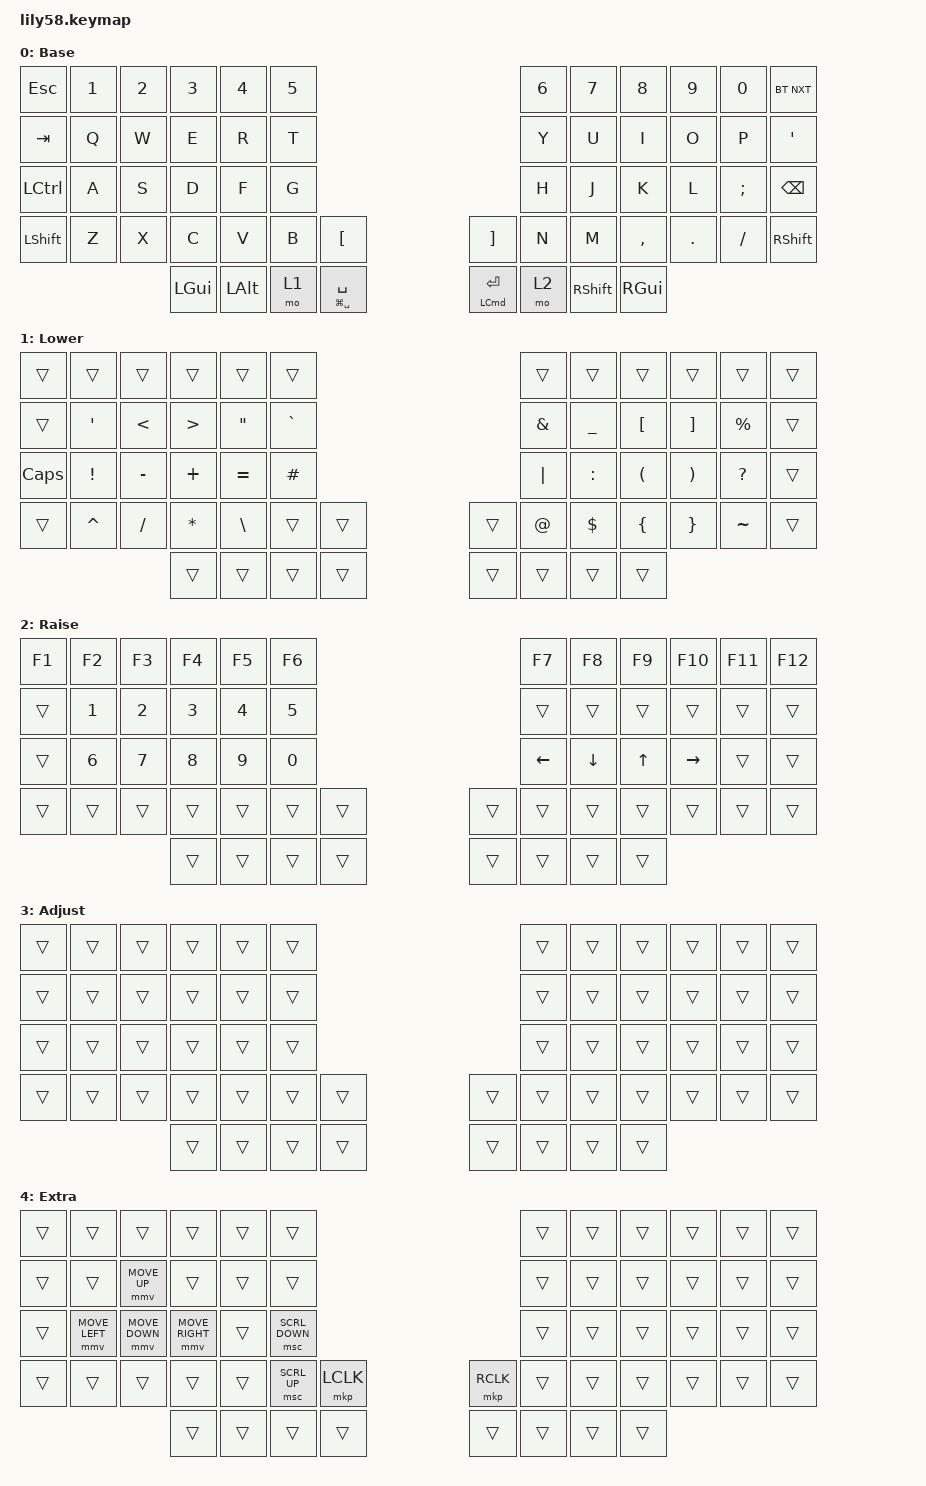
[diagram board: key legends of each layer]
/*
 * Copyright (c) 2020 The ZMK Contributors
 *
 * SPDX-License-Identifier: MIT
 */

#include <behaviors.dtsi>
#include <dt-bindings/zmk/bt.h>
#include <dt-bindings/zmk/keys.h>
#include <dt-bindings/zmk/pointing.h>

#define default_layer 0
#define lower_layer 1
#define raise_layer 2
#define adjust_layer 3
#define extra_layer 4

/ {
    behaviors {
        space_behavior: space_behavior {
            compatible = "zmk,behavior-hold-tap";
            label = "SPACE_BEHAVIOR";
            bindings = <&kp>, <&kp>;

            #binding-cells = <2>;
            tapping-term-ms = <250>;
            flavor = "tap-preferred";
        };

        ret_behavior: ret_behavior {
            compatible = "zmk,behavior-hold-tap";
            label = "RET_BEHAVIOR";
            bindings = <&kp>, <&kp>;

            #binding-cells = <2>;
            tapping-term-ms = <250>;
            flavor = "tap-preferred";
        };
    };

    keymap {
        compatible = "zmk,keymap";

        default_layer {
            display-name = "Base";

            // ------------------------------------------------------------------------------------------------------------
            // |  ESC  |  1  |  2  |  3   |  4   |  5   |                   |  6   |  7    |  8    |  9   |   0   |   `   |
            // |  TAB  |  Q  |  W  |  E   |  R   |  T   |                   |  Y   |  U    |  I    |  O   |   P   |   -   |
            // |  CTRL |  A  |  S  |  D   |  F   |  G   |                   |  H   |  J    |  K    |  L   |   ;   |   '   |
            // | SHIFT |  Z  |  X  |  C   |  V   |  B   |   "["  |  |  "]"  |  N   |  M    |  ,    |  .   |   /   | SHIFT |
            //                     | ALT  | GUI  | LOWER|  SPACE |  | ENTER | RAISE| BSPC  | GUI   |

            bindings = <
&kp ESC    &kp N1  &kp N2  &kp N3    &kp N4    &kp N5                                                             &kp N6  &kp N7           &kp N8     &kp N9   &kp N0    &bt BT_NXT
&kp TAB    &kp Q   &kp W   &kp E     &kp R     &kp T                                                              &kp Y   &kp U            &kp I      &kp O    &kp P     &kp SINGLE_QUOTE
&kp LCTRL  &kp A   &kp S   &kp D     &kp F     &kp G                                                              &kp H   &kp J            &kp K      &kp L    &kp SEMI  &kp BACKSPACE
&kp LSHFT  &kp Z   &kp X   &kp C     &kp V     &kp B   &kp LBKT                           &kp RBKT                &kp N   &kp M            &kp COMMA  &kp DOT  &kp FSLH  &kp RSHFT
                           &kp LGUI  &kp LALT  &mo 1   &space_behavior LG(SPACE) SPACE    &ret_behavior LCMD RET  &mo 2   &kp RIGHT_SHIFT  &kp RGUI
            >;
        };

        lower_layer {
            display-name = "Lower";

            // ------------------------------------------------------------------------------------------------------------
            // | BTCLR | BT1 | BT2 |  BT3 |  BT4 |  BT5 |                   |      |       |       |      |       |       |
            // |  F1   |  F2 |  F3 |  F4  |  F5  |  F6  |                   |  F7  |  F8   |  F9   |  F10 |  F11  |  F12  |
            // |   `   |  !  |  @  |  #   |  $   |  %   |                   |  ^   |  &    |  *    |  (   |   )   |   ~   |
            // |       |     |     |      |      |      |        |  |       |      |  _    |  +    |  {   |   }   |  "|"  |
            //                     |      |      |      |        |  |       |      |       |       |

            bindings = <
&trans    &trans            &trans         &trans            &trans             &trans                       &trans    &trans      &trans    &trans    &trans        &trans
&trans    &kp SINGLE_QUOTE  &kp LESS_THAN  &kp GREATER_THAN  &kp DOUBLE_QUOTES  &kp GRAVE                    &kp AMPS  &kp UNDER   &kp LBKT  &kp RBKT  &kp PERCENT   &trans
&kp CLCK  &kp EXCL          &kp MINUS      &kp PLUS          &kp EQUAL          &kp POUND                    &kp PIPE  &kp COLON   &kp LPAR  &kp RPAR  &kp QUESTION  &trans
&trans    &kp CARET         &kp SLASH      &kp STAR          &kp BACKSLASH      &trans     &trans    &trans  &kp AT    &kp DOLLAR  &kp LBRC  &kp RBRC  &kp TILDE     &trans
                                           &trans            &trans             &trans     &trans    &trans  &trans    &trans      &trans
            >;
        };

        raise_layer {
            display-name = "Raise";

            // ------------------------------------------------------------------------------------------------------------
            // |       |     |     |      |      |      |                   |      |       |       |      |       |       |
            // |   `   |  1  |  2  |  3   |  4   |  5   |                   |  6   |   7   |   8   |  9   |   0   |       |
            // |   F1  |  F2 |  F3 |  F4  |  F5  |  F6  |                   |      |   <-  |   v   |  ^   |  ->   |       |
            // |   F7  |  F8 |  F9 |  F10 |  F11 |  F12 |        |  |       |  +   |   -   |   =   |  [   |   ]   |   \   |
            //                     |      |      |      |        |  |       |      |       |       |

            bindings = <
&kp F1  &kp F2        &kp F3  &kp F4  &kp F5  &kp F6                    &kp F7          &kp F8    &kp F9  &kp F10    &kp F11  &kp F12
&trans  &kp N1        &kp N2  &kp N3  &kp N4  &kp N5                    &trans          &trans    &trans  &trans     &trans   &trans
&trans  &kp NUMBER_6  &kp N7  &kp N8  &kp N9  &kp N0                    &kp LEFT_ARROW  &kp DOWN  &kp UP  &kp RIGHT  &trans   &trans
&trans  &trans        &trans  &trans  &trans  &trans  &trans    &trans  &trans          &trans    &trans  &trans     &trans   &trans
                              &trans  &trans  &trans  &trans    &trans  &trans          &trans    &trans
            >;
        };

        adjust_layer {
            display-name = "Adjust";

            // ------------------------------------------------------------------------------------------------------------
            // |       |     |     |      |      |      |                   |      |       |       |      |       |       |
            // |   `   |  1  |  2  |  3   |  4   |  5   |                   |  6   |   7   |   8   |  9   |   0   |       |
            // |   F1  |  F2 |  F3 |  F4  |  F5  |  F6  |                   |      |   <-  |   v   |  ^   |  ->   |       |
            // |   F7  |  F8 |  F9 |  F10 |  F11 |  F12 |        |  |       |  +   |   -   |   =   |  [   |   ]   |   \   |
            //                     |      |      |      |        |  |       |      |       |       |

            bindings = <
&trans  &trans  &trans  &trans  &trans  &trans                    &trans  &trans  &trans  &trans  &trans  &trans
&trans  &trans  &trans  &trans  &trans  &trans                    &trans  &trans  &trans  &trans  &trans  &trans
&trans  &trans  &trans  &trans  &trans  &trans                    &trans  &trans  &trans  &trans  &trans  &trans
&trans  &trans  &trans  &trans  &trans  &trans  &trans    &trans  &trans  &trans  &trans  &trans  &trans  &trans
                        &trans  &trans  &trans  &trans    &trans  &trans  &trans  &trans
            >;
        };

        extra_layer {
            display-name = "Extra";

            // ------------------------------------------------------------------------------------------------------------
            // |       |     |     |      |      |      |                   |      |       |       |      |       |       |
            // |   `   |  1  |  2  |  3   |  4   |  5   |                   |  6   |   7   |   8   |  9   |   0   |       |
            // |   F1  |  F2 |  F3 |  F4  |  F5  |  F6  |                   |      |   <-  |   v   |  ^   |  ->   |       |
            // |   F7  |  F8 |  F9 |  F10 |  F11 |  F12 |        |  |       |  +   |   -   |   =   |  [   |   ]   |   \   |
            //                     |      |      |      |        |  |       |      |       |       |

            bindings = <
&trans  &trans          &trans          &trans           &trans  &trans                                  &trans  &trans  &trans  &trans  &trans  &trans
&trans  &trans          &mmv MOVE_UP    &trans           &trans  &trans                                  &trans  &trans  &trans  &trans  &trans  &trans
&trans  &mmv MOVE_LEFT  &mmv MOVE_DOWN  &mmv MOVE_RIGHT  &trans  &msc SCRL_DOWN                          &trans  &trans  &trans  &trans  &trans  &trans
&trans  &trans          &trans          &trans           &trans  &msc SCRL_UP    &mkp LCLK    &mkp RCLK  &trans  &trans  &trans  &trans  &trans  &trans
                                        &trans           &trans  &trans          &trans       &trans     &trans  &trans  &trans
            >;
        };
    };
};
